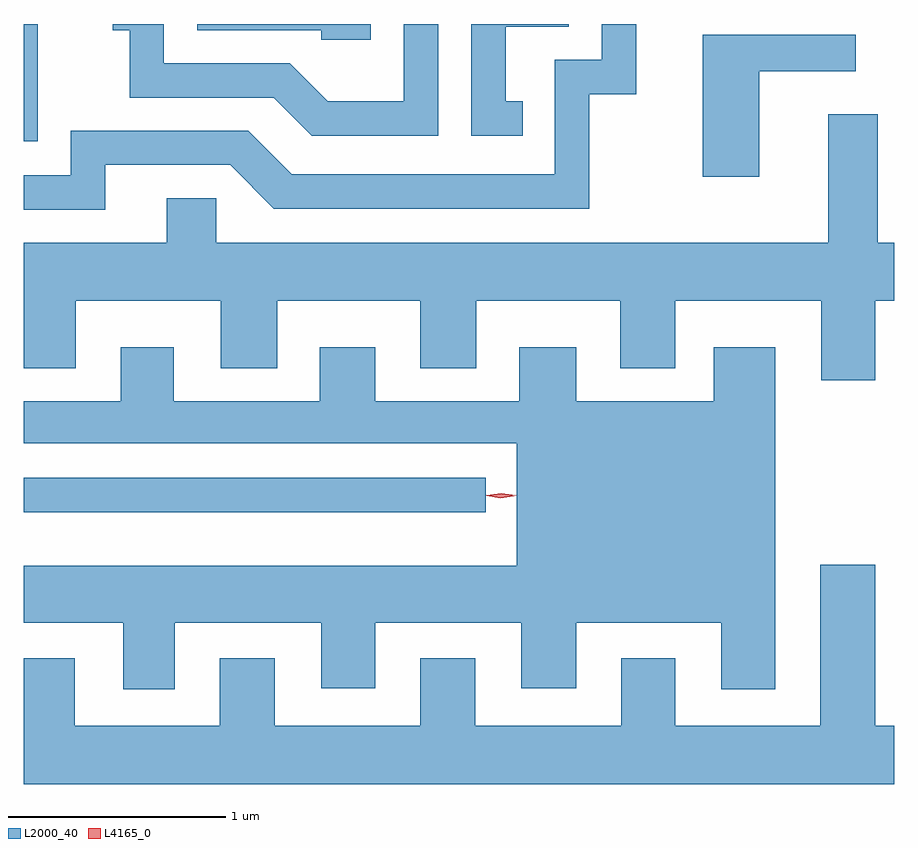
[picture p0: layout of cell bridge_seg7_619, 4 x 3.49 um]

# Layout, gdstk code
import gdstk
lib = gdstk.Library(unit=1e-6, precision=1e-09)
def R(c, l, rs):  # rectangles x0, y0, x1, y1
    for r in rs: c.add(gdstk.rectangle(r[:2], r[2:], *l))
def P(c, l, *ps):  # polygons
    for p in ps: c.add(gdstk.Polygon(p, *l))
L2000_40 = (2000, 40)
L4165_0 = (4165, 0)

bridge_seg7_619 = lib.new_cell('bridge_seg7_619')
R(bridge_seg7_619, L2000_40, [(785.275,1680.046,787.398,1680.204), (785.275,1681.751,785.339,1682.289)])
P(bridge_seg7_619, L2000_40, [(785.649,1681.641),(786.224,1681.641),(786.424,1681.441),(787.874,1681.441),(787.874,1681.966),(788.089,1681.966),(788.089,1682.289),(787.931,1682.289),(787.931,1682.124),(787.716,1682.124),(787.716,1681.599),(786.507,1681.599),(786.307,1681.799),(785.491,1681.799),(785.491,1681.594),(785.275,1681.594),(785.275,1681.436),(785.649,1681.436)],
  [(787.568,1681.934),(787.489,1681.934),(787.489,1682.276),(787.779,1682.276),(787.779,1682.289),(787.331,1682.289),(787.331,1681.776),(787.568,1681.776)],
  [(786.869,1682.289),(786.071,1682.289),(786.071,1682.261),(786.641,1682.261),(786.641,1682.216),(786.869,1682.216)],
  [(787.179,1682.289),(787.021,1682.289),(787.021,1681.934),(786.672,1681.934),(786.497,1682.109),(785.919,1682.109),(785.919,1682.289),(785.683,1682.289),(785.683,1682.261),(785.761,1682.261),(785.761,1681.951),(786.424,1681.951),(786.599,1681.776),(787.179,1681.776)],
  [(788.654,1682.071),(789.098,1682.071),(789.098,1682.239),(788.396,1682.239),(788.396,1681.586),(788.654,1681.586)],
  [(789.189,1681.016),(789.275,1681.016),(789.275,1681.284),(789.199,1681.284),(789.199,1681.874),(788.971,1681.874),(788.971,1681.284),(786.159,1681.284),(786.159,1681.489),(785.931,1681.489),(785.931,1681.284),(785.275,1681.284),(785.275,1680.706),(785.514,1680.706),(785.514,1681.016),(786.181,1681.016),(786.181,1680.706),(786.439,1680.706),(786.439,1681.016),(787.096,1681.016),(787.096,1680.706),(787.354,1680.706),(787.354,1681.016),(788.016,1681.016),(788.016,1680.706),(788.269,1680.706),(788.269,1681.016),(788.941,1681.016),(788.941,1680.651),(789.189,1680.651)],
  [(785.969,1679.536),(786.641,1679.536),(786.641,1679.236),(786.889,1679.236),(786.889,1679.536),(787.561,1679.536),(787.561,1679.236),(787.814,1679.236),(787.814,1679.536),(788.481,1679.536),(788.481,1679.231),(788.729,1679.231),(788.729,1680.804),(788.446,1680.804),(788.446,1680.554),(787.814,1680.554),(787.814,1680.804),(787.551,1680.804),(787.551,1680.554),(786.889,1680.554),(786.889,1680.804),(786.636,1680.804),(786.636,1680.554),(785.964,1680.554),(785.964,1680.804),(785.721,1680.804),(785.721,1680.554),(785.275,1680.554),(785.275,1680.361),(787.541,1680.361),(787.541,1679.799),(785.275,1679.799),(785.275,1679.536),(785.731,1679.536),(785.731,1679.231),(785.969,1679.231)],
  [(789.275,1679.064),(789.189,1679.064),(789.189,1679.804),(788.936,1679.804),(788.936,1679.064),(788.269,1679.064),(788.269,1679.374),(788.021,1679.374),(788.021,1679.064),(787.349,1679.064),(787.349,1679.374),(787.096,1679.374),(787.096,1679.064),(786.429,1679.064),(786.429,1679.374),(786.176,1679.374),(786.176,1679.064),(785.509,1679.064),(785.509,1679.374),(785.275,1679.374),(785.275,1678.796),(789.275,1678.796)])
P(bridge_seg7_619, L4165_0, [(787.469,1680.113),(787.4,1680.123),(787.399,1680.123),(787.4,1680.124),(787.469,1680.133),(787.537,1680.124),(787.538,1680.123),(787.537,1680.123)],
  [(787.465,1680.11),(787.403,1680.121),(787.403,1680.121),(787.403,1680.122),(787.465,1680.13),(787.527,1680.119),(787.528,1680.119),(787.527,1680.118)])

lib.write_gds('bridge_seg7_619.gds')
